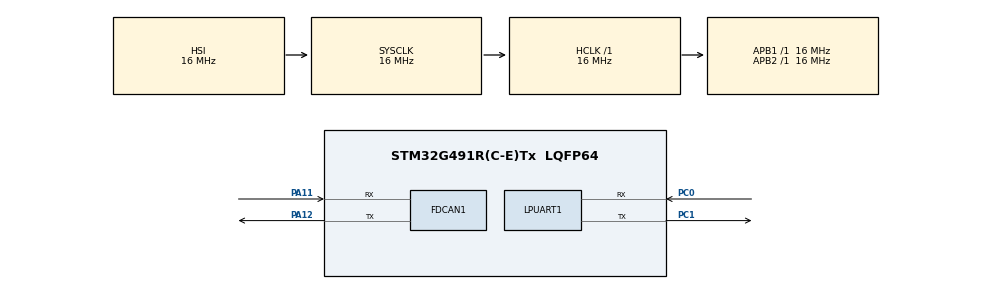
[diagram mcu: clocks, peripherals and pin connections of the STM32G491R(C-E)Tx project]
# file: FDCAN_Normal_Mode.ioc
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FDCAN1.AutoRetransmission=ENABLE
FDCAN1.CalculateBaudRateNominal=50000
FDCAN1.CalculateTimeBitNominal=20000
FDCAN1.CalculateTimeQuantumNominal=250.0
FDCAN1.DataPrescaler=4
FDCAN1.DataSyncJumpWidth=5
FDCAN1.DataTimeSeg1=14
FDCAN1.DataTimeSeg2=5
FDCAN1.ExtFiltersNbr=8
FDCAN1.FrameFormat=FDCAN_FRAME_FD_NO_BRS
FDCAN1.NominalPrescaler=4
FDCAN1.NominalSyncJumpWidth=16
FDCAN1.NominalTimeSeg1=63
FDCAN1.NominalTimeSeg2=16
FDCAN1.StdFiltersNbr=28
FDCAN1.TransmitPause=ENABLE
Mcu.Family=STM32G4
Mcu.Name=STM32G491R(C-E)Tx
Mcu.Package=LQFP64
NVIC.FDCAN1_IT0_IRQn=true\:0\:0\:false\:false\:true\:true\:true\:true
NVIC.PriorityGroup=NVIC_PRIORITYGROUP_4
NVIC.TIM6_DAC_IRQn=true\:0\:0\:false\:false\:true\:true\:true\:true
PA11.Mode=FDCAN_Activate
PA11.Signal=FDCAN1_RX
PA12.Mode=FDCAN_Activate
PA12.Signal=FDCAN1_TX
PA13.Mode=Serial_Wire
PA13.Signal=SYS_JTMS-SWDIO
PA14.Mode=Serial_Wire
PA14.Signal=SYS_JTCK-SWCLK
PC0.Mode=Asynchronous
PC0.Signal=LPUART1_RX
PC1.Mode=Asynchronous
PC1.Signal=LPUART1_TX
PC14-OSC32_IN.Mode=LSE-External-Oscillator
PC14-OSC32_IN.Signal=RCC_OSC32_IN
PC15-OSC32_OUT.Mode=LSE-External-Oscillator
PC15-OSC32_OUT.Signal=RCC_OSC32_OUT
PF0-OSC_IN.Mode=HSE-External-Oscillator
PF0-OSC_IN.Signal=RCC_OSC_IN
PF1-OSC_OUT.Mode=HSE-External-Oscillator
PF1-OSC_OUT.Signal=RCC_OSC_OUT
ProjectManager.HeapSize=0x200
ProjectManager.StackSize=0x400
ProjectManager.TargetToolchain=STM32CubeIDE
RCC.AHBFreq_Value=16000000
RCC.APB1Freq_Value=16000000
RCC.APB1TimFreq_Value=16000000
RCC.APB2Freq_Value=16000000
RCC.APB2TimFreq_Value=16000000
RCC.CortexFreq_Value=16000000
RCC.EXTERNAL_CLOCK_VALUE=12288000
RCC.HCLKFreq_Value=16000000
RCC.HSE_VALUE=8000000
RCC.HSI48_VALUE=48000000
RCC.HSI_VALUE=16000000
RCC.SYSCLKFreq_VALUE=16000000
RCC.VCOOutputFreq_Value=128000000
TIM6.PeriodNoDither=100-1
TIM6.Prescaler=170-1
VP_SYS_VS_DBSignals.Mode=DisableDeadBatterySignals
VP_TIM6_VS_ClockSourceINT.Mode=Enable_Timer
board=custom

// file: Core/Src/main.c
/* USER CODE BEGIN Header */
/**
  ******************************************************************************
  * @file           : main.c
  * @brief          : Main program body
  ******************************************************************************
  * @attention
  *
  * Copyright (c) 2024 STMicroelectronics.
  * All rights reserved.
  *
  * This software is licensed under terms that can be found in the LICENSE file
  * in the root directory of this software component.
  * If no LICENSE file comes with this software, it is provided AS-IS.
  *
  ******************************************************************************
  */
/* USER CODE END Header */
#include "main.h"

FDCAN_HandleTypeDef hfdcan1;

UART_HandleTypeDef hlpuart1;

TIM_HandleTypeDef htim6;

void SystemClock_Config(void);
static void MX_GPIO_Init(void);
static void MX_FDCAN1_Init(void);
static void MX_LPUART1_UART_Init(void);
static void MX_TIM6_Init(void);

/* USER CODE BEGIN 0 */
FDCAN_TxHeaderTypeDef	TxHeader;
FDCAN_RxHeaderTypeDef	RxHeader;
uint8_t					TxData[12];
uint8_t					RxData[12];

int indx = 0;

void HAL_FDCAN_RxFifo0Callback(FDCAN_HandleTypeDef *hfdcan, uint32_t RxFifo0ITs){
	if((RxFifo0ITs & FDCAN_IT_RX_FIFO0_NEW_MESSAGE) != RESET){
		/* Retreive Rx messages from Rx FIFO0 */
		if(HAL_FDCAN_GetRxMessage(hfdcan, FDCAN_RX_FIFO0, &RxHeader, RxData) != HAL_OK)
		{
			/* Reception Error */
			Error_Handler();
		}
		if(HAL_FDCAN_ActivateNotification(hfdcan, FDCAN_IT_RX_FIFO0_NEW_MESSAGE,0) != HAL_OK){
			/* Notification Error */
			Error_Handler();
		}
	}
}
/* USER CODE END 0 */

int main(void)
{

  /* MCU Configuration--------------------------------------------------------*/

  /* Reset of all peripherals, Initializes the Flash interface and the Systick. */
  HAL_Init();

  /* Configure the system clock */
  SystemClock_Config();

  /* Initialize all configured peripherals */
  MX_GPIO_Init();
  MX_FDCAN1_Init();
  MX_LPUART1_UART_Init();
  MX_TIM6_Init();
  /* USER CODE BEGIN 2 */

  if(HAL_FDCAN_Start(&hfdcan1) != HAL_OK){
	  Error_Handler();
  }

  if(HAL_FDCAN_ActivateNotification(&hfdcan1, FDCAN_IT_RX_FIFO0_NEW_MESSAGE,0) != HAL_OK){
	  /*
	   * Notification Error
	   */
	  Error_Handler();
  }
  TxHeader.Identifier = 0x11;
  TxHeader.IdType = FDCAN_STANDARD_ID;
  TxHeader.TxFrameType = FDCAN_DATA_FRAME;
  TxHeader.DataLength = FDCAN_DLC_BYTES_12;
  TxHeader.ErrorStateIndicator = FDCAN_ESI_ACTIVE;
  TxHeader.BitRateSwitch = FDCAN_BRS_OFF;
  TxHeader.FDFormat = FDCAN_FD_CAN;
  TxHeader.TxEventFifoControl = FDCAN_NO_TX_EVENTS;
  TxHeader.MessageMarker = 0;
  /* USER CODE END 2 */

  /* Infinite loop */
  while (1)
  {

  }
}

void SystemClock_Config(void)
{
  RCC_OscInitTypeDef RCC_OscInitStruct = {0};
  RCC_ClkInitTypeDef RCC_ClkInitStruct = {0};

  /** Configure the main internal regulator output voltage
  */
  HAL_PWREx_ControlVoltageScaling(PWR_REGULATOR_VOLTAGE_SCALE1);

  /** Initializes the RCC Oscillators according to the specified parameters
  * in the RCC_OscInitTypeDef structure.
  */
  RCC_OscInitStruct.OscillatorType = RCC_OSCILLATORTYPE_HSI;
  RCC_OscInitStruct.HSIState = RCC_HSI_ON;
  RCC_OscInitStruct.HSICalibrationValue = RCC_HSICALIBRATION_DEFAULT;
  RCC_OscInitStruct.PLL.PLLState = RCC_PLL_NONE;
  if (HAL_RCC_OscConfig(&RCC_OscInitStruct) != HAL_OK)
  {
    Error_Handler();
  }

  /** Initializes the CPU, AHB and APB buses clocks
  */
  RCC_ClkInitStruct.ClockType = RCC_CLOCKTYPE_HCLK|RCC_CLOCKTYPE_SYSCLK
                              |RCC_CLOCKTYPE_PCLK1|RCC_CLOCKTYPE_PCLK2;
  RCC_ClkInitStruct.SYSCLKSource = RCC_SYSCLKSOURCE_HSI;
  RCC_ClkInitStruct.AHBCLKDivider = RCC_SYSCLK_DIV1;
  RCC_ClkInitStruct.APB1CLKDivider = RCC_HCLK_DIV1;
  RCC_ClkInitStruct.APB2CLKDivider = RCC_HCLK_DIV1;

  if (HAL_RCC_ClockConfig(&RCC_ClkInitStruct, FLASH_LATENCY_0) != HAL_OK)
  {
    Error_Handler();
  }
}

static void MX_FDCAN1_Init(void)
{

  hfdcan1.Instance = FDCAN1;
  hfdcan1.Init.ClockDivider = FDCAN_CLOCK_DIV1;
  hfdcan1.Init.FrameFormat = FDCAN_FRAME_FD_NO_BRS;
  hfdcan1.Init.Mode = FDCAN_MODE_NORMAL;
  hfdcan1.Init.AutoRetransmission = ENABLE;
  hfdcan1.Init.TransmitPause = ENABLE;
  hfdcan1.Init.ProtocolException = DISABLE;
  hfdcan1.Init.NominalPrescaler = 4;
  hfdcan1.Init.NominalSyncJumpWidth = 16;
  hfdcan1.Init.NominalTimeSeg1 = 63;
  hfdcan1.Init.NominalTimeSeg2 = 16;
  hfdcan1.Init.DataPrescaler = 4;
  hfdcan1.Init.DataSyncJumpWidth = 5;
  hfdcan1.Init.DataTimeSeg1 = 14;
  hfdcan1.Init.DataTimeSeg2 = 5;
  hfdcan1.Init.StdFiltersNbr = 28;
  hfdcan1.Init.ExtFiltersNbr = 8;
  hfdcan1.Init.TxFifoQueueMode = FDCAN_TX_FIFO_OPERATION;
  if (HAL_FDCAN_Init(&hfdcan1) != HAL_OK)
  {
    Error_Handler();
  }
  /* USER CODE BEGIN FDCAN1_Init 2 */
FDCAN_FilterTypeDef sFilterConfig;

sFilterConfig.IdType = FDCAN_STANDARD_ID;
sFilterConfig.FilterIndex = 0;
sFilterConfig.FilterType = FDCAN_FILTER_MASK;
sFilterConfig.FilterConfig = FDCAN_FILTER_TO_RXFIFO0;
sFilterConfig.FilterID1 = 0x22;
sFilterConfig.FilterID2 = 0x22;
if (HAL_FDCAN_ConfigFilter(&hfdcan1, &sFilterConfig) != HAL_OK){
	Error_Handler();
}
  /* USER CODE END FDCAN1_Init 2 */

}

static void MX_LPUART1_UART_Init(void)
{

  hlpuart1.Instance = LPUART1;
  hlpuart1.Init.BaudRate = 209700;
  hlpuart1.Init.WordLength = UART_WORDLENGTH_8B;
  hlpuart1.Init.StopBits = UART_STOPBITS_1;
  hlpuart1.Init.Parity = UART_PARITY_NONE;
  hlpuart1.Init.Mode = UART_MODE_TX_RX;
  hlpuart1.Init.HwFlowCtl = UART_HWCONTROL_NONE;
  hlpuart1.Init.OneBitSampling = UART_ONE_BIT_SAMPLE_DISABLE;
  hlpuart1.Init.ClockPrescaler = UART_PRESCALER_DIV1;
  hlpuart1.AdvancedInit.AdvFeatureInit = UART_ADVFEATURE_NO_INIT;
  if (HAL_UART_Init(&hlpuart1) != HAL_OK)
  {
    Error_Handler();
  }
  if (HAL_UARTEx_SetTxFifoThreshold(&hlpuart1, UART_TXFIFO_THRESHOLD_1_8) != HAL_OK)
  {
    Error_Handler();
  }
  if (HAL_UARTEx_SetRxFifoThreshold(&hlpuart1, UART_RXFIFO_THRESHOLD_1_8) != HAL_OK)
  {
    Error_Handler();
  }
  if (HAL_UARTEx_DisableFifoMode(&hlpuart1) != HAL_OK)
  {
    Error_Handler();
  }

}

static void MX_TIM6_Init(void)
{

  TIM_MasterConfigTypeDef sMasterConfig = {0};

  htim6.Instance = TIM6;
  htim6.Init.Prescaler = 170-1;
  htim6.Init.CounterMode = TIM_COUNTERMODE_UP;
  htim6.Init.Period = 99;
  htim6.Init.AutoReloadPreload = TIM_AUTORELOAD_PRELOAD_DISABLE;
  if (HAL_TIM_Base_Init(&htim6) != HAL_OK)
  {
    Error_Handler();
  }
  sMasterConfig.MasterOutputTrigger = TIM_TRGO_RESET;
  sMasterConfig.MasterSlaveMode = TIM_MASTERSLAVEMODE_DISABLE;
  if (HAL_TIMEx_MasterConfigSynchronization(&htim6, &sMasterConfig) != HAL_OK)
  {
    Error_Handler();
  }

}

static void MX_GPIO_Init(void)
{

  /* GPIO Ports Clock Enable */
  __HAL_RCC_GPIOC_CLK_ENABLE();
  __HAL_RCC_GPIOF_CLK_ENABLE();
  __HAL_RCC_GPIOA_CLK_ENABLE();

}

void Error_Handler(void)
{
  __disable_irq();
  while (1)
  {
  }
}
